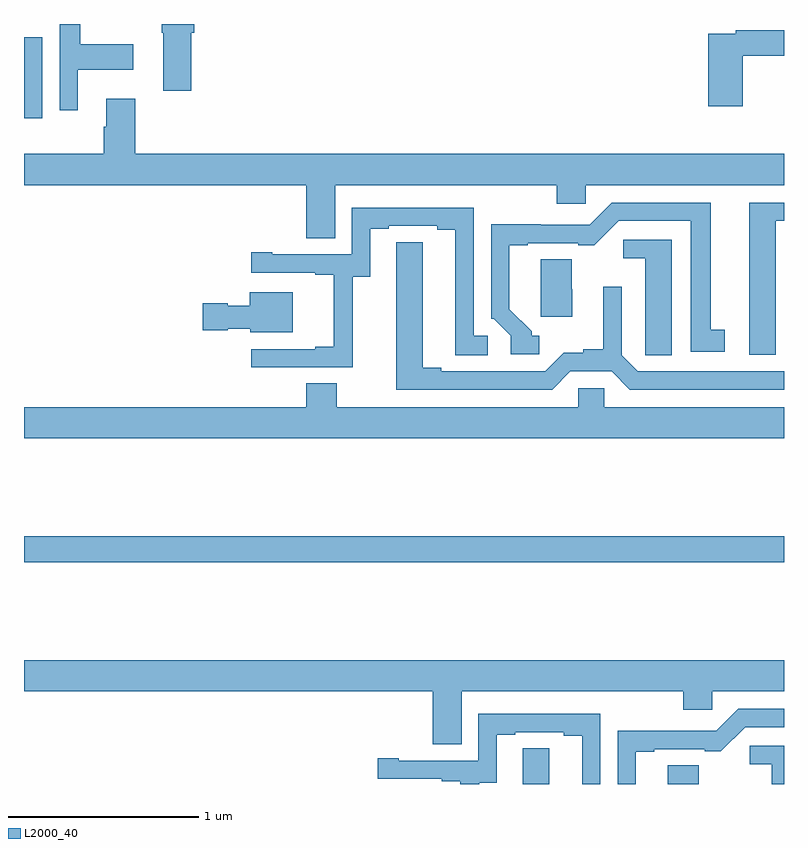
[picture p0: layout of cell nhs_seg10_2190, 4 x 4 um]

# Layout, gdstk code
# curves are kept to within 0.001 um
import gdstk
lib = gdstk.Library(unit=1e-6, precision=1e-09)
def R(c, l, rs):  # rectangles x0, y0, x1, y1
    for r in rs: c.add(gdstk.rectangle(r[:2], r[2:], *l))
def P(c, l, *ps):  # polygons
    for p in ps: c.add(gdstk.Polygon(p, *l))
L2000_40 = (2000, 40)

nhs_seg10_2190 = lib.new_cell('nhs_seg10_2190')
R(nhs_seg10_2190, L2000_40, [(230.387,1294.5,230.55,1294.598), (227,1295.668,231,1295.804), (227,1298.004,227.097,1298.431)])
P(nhs_seg10_2190, L2000_40, [(227.284,1298.258),(227.575,1298.258),(227.575,1298.393),(227.296,1298.393),(227.296,1298.5),(227.187,1298.5),(227.187,1298.046),(227.284,1298.046)],
  [(227.879,1298.454),(227.897,1298.454),(227.897,1298.5),(227.726,1298.5),(227.726,1298.454),(227.732,1298.454),(227.732,1298.148),(227.879,1298.148)],
  [(230.783,1298.332),(231,1298.332),(231,1298.468),(230.746,1298.468),(230.746,1298.448),(230.6,1298.448),(230.6,1298.067),(230.783,1298.067)],
  [(228.637,1297.652),(229.805,1297.652),(229.805,1297.554),(229.956,1297.554),(229.956,1297.652),(231,1297.652),(231,1297.816),(227.585,1297.816),(227.585,1298.107),(227.432,1298.107),(227.432,1297.958),(227.42,1297.958),(227.42,1297.816),(227,1297.816),(227,1297.652),(228.485,1297.652),(228.485,1297.372),(228.637,1297.372)],
  [(229.711,1296.858),(229.672,1296.858),(229.672,1296.882),(229.555,1296.998),(229.555,1297.335),(229.651,1297.335),(229.651,1297.347),(229.916,1297.347),(229.916,1297.336),(230.002,1297.336),(230.13,1297.464),(230.51,1297.464),(230.51,1296.774),(230.689,1296.774),(230.689,1296.89),(230.614,1296.89),(230.614,1297.56),(230.094,1297.56),(229.977,1297.443),(229.721,1297.443),(229.721,1297.445),(229.458,1297.445),(229.458,1296.948),(229.473,1296.948),(229.563,1296.858),(229.563,1296.762),(229.711,1296.762)],
  [(230.956,1297.464),(231,1297.464),(231,1297.56),(230.816,1297.56),(230.816,1296.759),(230.956,1296.759)],
  [(228.729,1297.171),(228.823,1297.171),(228.823,1297.422),(228.919,1297.422),(228.919,1297.437),(229.175,1297.437),(229.175,1297.417),(229.271,1297.417),(229.271,1296.757),(229.441,1296.757),(229.441,1296.858),(229.368,1296.858),(229.368,1297.533),(228.726,1297.533),(228.726,1297.287),(228.307,1297.287),(228.307,1297.3),(228.195,1297.3),(228.195,1297.191),(228.533,1297.191),(228.533,1297.179),(228.629,1297.179),(228.629,1296.802),(228.533,1296.802),(228.533,1296.789),(228.195,1296.789),(228.195,1296.693),(228.729,1296.693)],
  [(230.41,1297.365),(230.154,1297.365),(230.154,1297.268),(230.27,1297.268),(230.27,1296.865),(230.271,1296.865),(230.271,1296.757),(230.41,1296.757)],
  [(229.875,1296.672),(230.093,1296.672),(230.189,1296.576),(231,1296.576),(231,1296.672),(230.229,1296.672),(230.145,1296.756),(230.145,1297.117),(230.048,1297.117),(230.048,1296.788),(229.944,1296.788),(229.944,1296.77),(229.841,1296.77),(229.743,1296.672),(229.195,1296.672),(229.195,1296.692),(229.099,1296.692),(229.099,1297.352),(228.96,1297.352),(228.959,1296.576),(229.779,1296.576)],
  [(229.885,1297.104),(229.884,1297.104),(229.884,1297.262),(229.721,1297.262),(229.721,1296.96),(229.885,1296.96)],
  [(228.415,1297.087),(228.188,1297.087),(228.188,1297.018),(228.072,1297.018),(228.072,1297.031),(227.94,1297.031),(227.94,1296.889),(228.072,1296.889),(228.072,1296.896),(228.192,1296.896),(228.192,1296.878),(228.415,1296.878)],
  [(231,1296.484),(230.055,1296.484),(230.055,1296.582),(229.917,1296.582),(229.917,1296.484),(228.645,1296.484),(228.645,1296.608),(228.485,1296.608),(228.485,1296.484),(227,1296.484),(227,1296.32),(231,1296.32)],
  [(229.303,1294.988),(230.471,1294.988),(230.471,1294.89),(230.622,1294.89),(230.622,1294.988),(231,1294.988),(231,1295.152),(227,1295.152),(227,1294.988),(229.151,1294.988),(229.151,1294.708),(229.303,1294.708)],
  [(230.221,1294.671),(230.317,1294.671),(230.317,1294.683),(230.582,1294.683),(230.582,1294.672),(230.668,1294.672),(230.796,1294.8),(231,1294.8),(231,1294.896),(230.76,1294.896),(230.643,1294.779),(230.387,1294.779),(230.387,1294.781),(230.124,1294.781),(230.124,1294.5),(230.221,1294.5)],
  [(229.395,1294.507),(229.489,1294.507),(229.489,1294.758),(229.585,1294.758),(229.585,1294.773),(229.841,1294.773),(229.841,1294.753),(229.937,1294.753),(229.937,1294.5),(230.034,1294.5),(230.034,1294.869),(229.392,1294.869),(229.392,1294.623),(228.973,1294.623),(228.973,1294.636),(228.861,1294.636),(228.861,1294.527),(229.199,1294.527),(229.199,1294.515),(229.295,1294.515),(229.295,1294.5),(229.395,1294.5)],
  [(231,1294.701),(230.82,1294.701),(230.82,1294.604),(230.936,1294.604),(230.936,1294.5),(231,1294.5)],
  [(229.765,1294.688),(229.626,1294.688),(229.626,1294.58),(229.625,1294.58),(229.625,1294.5),(229.765,1294.5)])

lib.write_gds('nhs_seg10_2190.gds')
